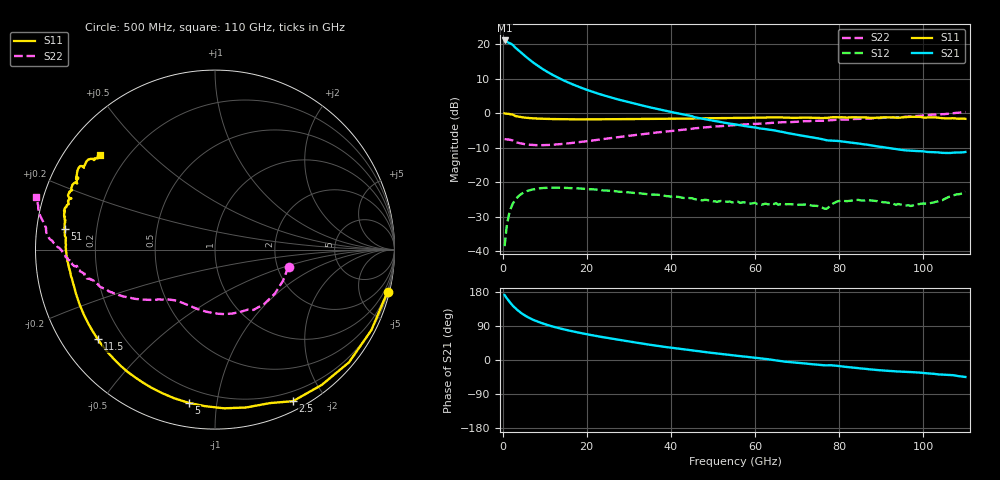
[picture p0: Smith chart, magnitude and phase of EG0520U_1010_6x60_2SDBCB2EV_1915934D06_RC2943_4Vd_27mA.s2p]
!File name = EG0520U_1010_6x60_2SDBCB2EV_1915934D06_RC2943_4Vd_27mA.s2p
!Base file name = EG0520U_1010_6x60_2SDBCB2EV_1915934D06_RC2943
!Date = 8/23/2019
!Time = 1:05 PM
!Test duration(min) = 0.15
!Test = S-Parameters
!MPTS version = 8.91.5
!State File = C:\Data\PNA\20190821205423\S-Parameters_2019-08-23.sta
!Cal File =
!ComputerName = CMPE-LAB-6
!Comments =
!Attenuation = 0
!Z0 = 50
!Input Power(dBm) = -13.00
!Device ID = EG0520U_1010_6x60_2SDBCB2EV
!Row = 29
!Column = 43
!Technology = QPHT09
!Lot/Wafer = 1915934D06
!Gate Size = 360
!Mask = EG0520
!Cal Standards = GaAs BCB
!Cal Kit = EG2306
!Job Number = 20190821205423
!Device Type = FET
!set_Vg(v) = -1.500
!set_Vd(v) = 4.000
!set_Vd(mA) = 27.000
!file_name = EG0520U_1010_6x60_2SDBCB2EV_1915934D06_RC2943_4Vd_27mA.s2p
!Vd(V) = 4.000
!Vd(mA) = 27.157
!Vg(V) = -0.588
!Vg(mA) = -0.007
# GHz  S  DB  R  50
!%	Freq(GHz)  s11(dB)  s11(deg)  s21(dB)  s21(deg)  s12(dB)  s12(deg)  s22(dB)  s22(deg)
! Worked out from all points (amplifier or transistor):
!   220 points, 500 MHz to 110 GHz, reference 50 ohm
!   highest |S21| = 21.0 dB at 500 MHz (marker M1)
!   |S21| within 3 dB of that: start of sweep to 3.937 GHz
!   unconditionally stable (mu >= 1): 33.2 GHz to 96.43 GHz
!   at 18.5 GHz: K = 0.55, MSG = 14.6 dB, |S12| = -21.8 dB
!   at 55.5 GHz: K = 1.57, MAG = 6.7 dB, |S12| = -25.7 dB
!   at 110 GHz: K = -1.46, MSG = 5.7 dB, |S12| = -22.7 dB
!   S11 on the Smith chart (normalised r, x): 500 MHz: 0.36, -8.27; 2.5 GHz: 0.10, -1.63; 5 GHz: 0.12, -0.84; 11.5 GHz: 0.11, -0.33; 51 GHz: 0.08, +0.07; 110 GHz: 0.11, +0.35
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0.5  -0.09 -13.8  21.04 171.4  -38.53 80.5  -7.52 -13.0
1  -0.17 -27.2  20.68 163.2  -32.73 73.8  -7.61 -24.9
1.5  -0.21 -40.1  20.36 156.2  -29.54 66.9  -7.66 -36.5
2  -0.35 -51.8  20.10 148.9  -27.49 60.3  -7.78 -48.0
2.5  -0.45 -62.8  19.68 142.6  -26.07 54.7  -7.99 -57.5
3.5  -0.95 -78.9  18.51 132.3  -24.44 45.9  -8.54 -68.8
4.5  -1.17 -93.5  17.44 123.5  -23.38 38.3  -8.80 -81.7
5  -1.25 -99.7  16.91 119.8  -23.01 35.2  -8.92 -87.0
6  -1.39 -110.3  15.89 113.1  -22.50 29.9  -9.11 -96.0
7.5  -1.52 -122.5  14.47 105.1  -22.04 23.8  -9.24 -106.1
9.5  -1.63 -134.1  12.81 96.7  -21.69 17.7  -9.27 -114.8
11.5  -1.71 -142.8  11.35 89.7  -21.60 13.0  -9.19 -121.3
14.5  -1.76 -152.1  9.49 81.0  -21.63 7.9  -8.89 -127.8
19  -1.80 -161.5  7.21 70.2  -21.88 2.5  -8.28 -133.9
26.5  -1.76 -171.1  4.28 55.3  -22.55 -2.4  -7.11 -140.7
37  -1.61 -179.7  1.14 37.1  -23.65 -5.1  -5.57 -148.7
51  -1.46 172.0  -2.41 17.3  -25.71 -3.0  -3.85 -159.7
55.5  -1.42 169.5  -3.31 11.6  -25.66 -1.7  -3.41 -162.4
73.5  -1.33 160.9  -7.02 -11.0  -26.78 -2.4  -2.23 -171.9
92  -1.25 152.2  -10.14 -28.9  -26.04 -14.7  -1.31 179.9
101  -1.25 147.8  -11.25 -35.3  -26.25 -10.2  -0.55 174.9
110  -1.64 140.7  -11.26 -44.7  -22.72 -19.0  0.33 163.5
